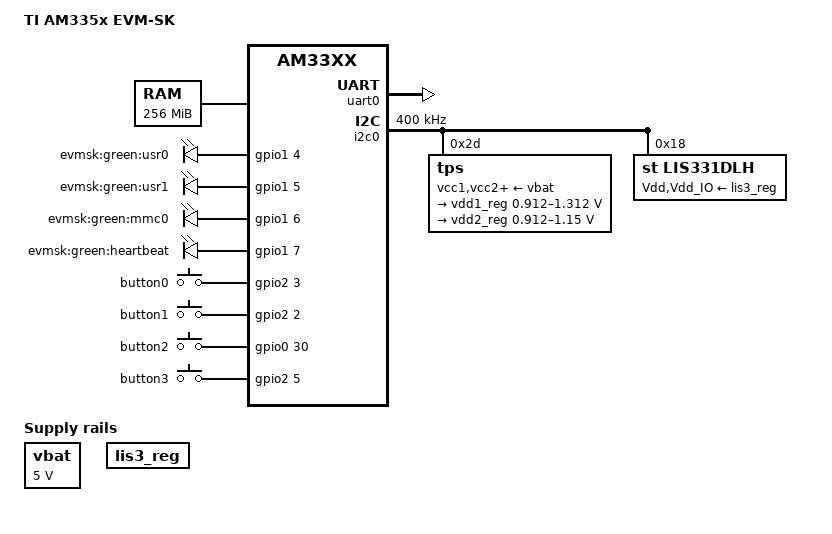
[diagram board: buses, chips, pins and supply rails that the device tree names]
/*
 * Copyright (C) 2012 Texas Instruments Incorporated - http://www.ti.com/
 *
 * This program is free software; you can redistribute it and/or modify
 * it under the terms of the GNU General Public License version 2 as
 * published by the Free Software Foundation.
 */

/*
 * AM335x Starter Kit
 * http://www.ti.com/tool/tmdssk3358
 */

/dts-v1/;

/include/ "am33xx.dtsi"

/ {
	model = "TI AM335x EVM-SK";
	compatible = "ti,am335x-evmsk", "ti,am33xx";

	cpus {
		cpu@0 {
			cpu0-supply = <&vdd1_reg>;
		};
	};

	memory {
		device_type = "memory";
		reg = <0x80000000 0x10000000>; /* 256 MB */
	};

	am33xx_pinmux: pinmux@44e10800 {
		pinctrl-names = "default";
		pinctrl-0 = <&gpio_keys_s0 &ddr3_vtt_toggle>;

		user_leds_s0: user_leds_s0 {
			pinctrl-single,pins = <
				0x10 0x7	/* gpmc_ad4.gpio1_4, OUTPUT | MODE7 */
				0x14 0x7	/* gpmc_ad5.gpio1_5, OUTPUT | MODE7 */
				0x18 0x7	/* gpmc_ad6.gpio1_6, OUTPUT | MODE7 */
				0x1c 0x7	/* gpmc_ad7.gpio1_7, OUTPUT | MODE7 */
			>;
		};

		gpio_keys_s0: gpio_keys_s0 {
			pinctrl-single,pins = <
				0x94 0x27	/* gpmc_oen_ren.gpio2_3, INPUT | MODE7 */
				0x90 0x27	/* gpmc_advn_ale.gpio2_2, INPUT | MODE7 */
				0x70 0x27	/* gpmc_wait0.gpio0_30, INPUT | MODE7 */
				0x9c 0x27	/* gpmc_ben0_cle.gpio2_5, INPUT | MODE7 */
			>;
		};

		i2c0_pins: pinmux_i2c0_pins {
			pinctrl-single,pins = <
				0x188 0x30	/* i2c0_sda.i2c0_sda PULLUP | INPUTENABLE | MODE0 */
				0x18c 0x30	/* i2c0_scl.i2c0_scl PULLUP | INPUTENABLE | MODE0 */
			>;
		};

		uart0_pins: pinmux_uart0_pins {
			pinctrl-single,pins = <
				0x170 0x30	/* uart0_rxd.uart0_rxd PULLUP | INPUTENABLE | MODE0 */
				0x174 0x00	/* uart0_txd.uart0_txd PULLDOWN | MODE0 */

			>;
		};

		ddr3_vtt_toggle: ddr3_vtt_toggle {
			pinctrl-single,pins = <
				0x164 0x7	/* ecap0_in_pwm0_out.gpio0_7, OUTPUT | MODE7 */
			>;
		};

		cpsw_default: cpsw_default {
			pinctrl-single,pins = <
				/* Slave 1 */
				0x114 0x2	/* mii1_txen.rgmii1_tctl, MODE2 | OUTPUT */
				0x118 0x22	/* mii1_rxdv.rgmii1_rctl, MODE2 | INPUT_PULLDOWN */
				0x11c 0x2	/* mii1_txd3.rgmii1_td3, MODE2 | OUTPUT */
				0x120 0x2	/* mii1_txd2.rgmii1_td2, MODE2 | OUTPUT */
				0x124 0x2	/* mii1_txd1.rgmii1_td1, MODE2 | OUTPUT */
				0x128 0x2	/* mii1_txd0.rgmii1_td0, MODE2 | OUTPUT */
				0x12c 0x2	/* mii1_txclk.rgmii1_tclk, MODE2 | OUTPUT */
				0x130 0x22	/* mii1_rxclk.rgmii1_rclk, MODE2 | INPUT_PULLDOWN */
				0x134 0x22	/* mii1_rxd3.rgmii1_rd3, MODE2 | INPUT_PULLDOWN */
				0x138 0x22	/* mii1_rxd2.rgmii1_rd2, MODE2 | INPUT_PULLDOWN */
				0x13c 0x22	/* mii1_rxd1.rgmii1_rd1, MODE2 | INPUT_PULLDOWN */
				0x140 0x22	/* mii1_rxd0.rgmii1_rd0, MODE2 | INPUT_PULLDOWN */

				/* Slave 2 */
				0x40 0x2	/* gpmc_a0.rgmii2_tctl", MODE2 | OUTPUT */
				0x44 0x22	/* gpmc_a1.rgmii2_rctl", MODE2 | INPUT_PULLDOWN */
				0x48 0x2	/* gpmc_a2.rgmii2_td3", MODE2 | OUTPUT */
				0x4c 0x2	/* gpmc_a3.rgmii2_td2", MODE2 | OUTPUT */
				0x50 0x2	/* gpmc_a4.rgmii2_td1", MODE2 | OUTPUT */
				0x54 0x2	/* gpmc_a5.rgmii2_td0", MODE2 | OUTPUT */
				0x58 0x2	/* gpmc_a6.rgmii2_tclk", MODE2 | OUTPUT */
				0x5c 0x22	/* gpmc_a7.rgmii2_rclk", MODE2 | INPUT_PULLDOWN */
				0x60 0x22	/* gpmc_a8.rgmii2_rd3", MODE2 | INPUT_PULLDOWN */
				0x64 0x22	/* gpmc_a9.rgmii2_rd2", MODE2 | INPUT_PULLDOWN */
				0x68 0x22	/* gpmc_a10.rgmii2_rd1", MODE2 | INPUT_PULLDOWN */
				0x6c 0x22	/* gpmc_a11.rgmii2_rd0", MODE2 | INPUT_PULLDOWN */
			>;
		};

		davinci_mdio_default: davinci_mdio_default {
			pinctrl-single,pins = <
				/* MDIO */
				0x148 0x30	/* mdio_data.mdio_data, MODE0 | INPUT_PULLUP */
				0x14c 0x10	/* mdio_clk.mdio_clk, MODE0 | OUTPUT_PULLUP */
			>;
		};
	};

	ocp {
		uart0: serial@44e09000 {
			pinctrl-names = "default";
			pinctrl-0 = <&uart0_pins>;

			status = "okay";
		};

		i2c0: i2c@44e0b000 {
			pinctrl-names = "default";
			pinctrl-0 = <&i2c0_pins>;

			status = "okay";
			clock-frequency = <400000>;

			tps: tps@2d {
				reg = <0x2d>;
			};

			lis331dlh: lis331dlh@18 {
				compatible = "st,lis331dlh", "st,lis3lv02d";
				reg = <0x18>;
				Vdd-supply = <&lis3_reg>;
				Vdd_IO-supply = <&lis3_reg>;

				st,click-single-x;
				st,click-single-y;
				st,click-single-z;
				st,click-thresh-x = <10>;
				st,click-thresh-y = <10>;
				st,click-thresh-z = <10>;
				st,irq1-click;
				st,irq2-click;
				st,wakeup-x-lo;
				st,wakeup-x-hi;
				st,wakeup-y-lo;
				st,wakeup-y-hi;
				st,wakeup-z-lo;
				st,wakeup-z-hi;
				st,min-limit-x = <120>;
				st,min-limit-y = <120>;
				st,min-limit-z = <140>;
				st,max-limit-x = <550>;
				st,max-limit-y = <550>;
				st,max-limit-z = <750>;
			};
		};

		wkup_m3: wkup_m3@44d00000 {
			ti,needs_vtt_toggle;
			vtt-gpio-pin = <7>;
		};
	};

	vbat: fixedregulator@0 {
		compatible = "regulator-fixed";
		regulator-name = "vbat";
		regulator-min-microvolt = <5000000>;
		regulator-max-microvolt = <5000000>;
		regulator-boot-on;
	};

	lis3_reg: fixedregulator@1 {
		compatible = "regulator-fixed";
		regulator-name = "lis3_reg";
		regulator-boot-on;
	};

	leds {
		pinctrl-names = "default";
		pinctrl-0 = <&user_leds_s0>;

		compatible = "gpio-leds";

		led@1 {
			label = "evmsk:green:usr0";
			gpios = <&gpio1 4 0>;
			default-state = "off";
		};

		led@2 {
			label = "evmsk:green:usr1";
			gpios = <&gpio1 5 0>;
			default-state = "off";
		};

		led@3 {
			label = "evmsk:green:mmc0";
			gpios = <&gpio1 6 0>;
			linux,default-trigger = "mmc0";
			default-state = "off";
		};

		led@4 {
			label = "evmsk:green:heartbeat";
			gpios = <&gpio1 7 0>;
			linux,default-trigger = "heartbeat";
			default-state = "off";
		};
	};

	gpio_buttons: gpio_buttons@0 {
		compatible = "gpio-keys";
		#address-cells = <1>;
		#size-cells = <0>;

		switch@1 {
			label = "button0";
			linux,code = <0x100>;
			gpios = <&gpio2 3 0>;
		};

		switch@2 {
			label = "button1";
			linux,code = <0x101>;
			gpios = <&gpio2 2 0>;
		};

		switch@3 {
			label = "button2";
			linux,code = <0x102>;
			gpios = <&gpio0 30 0>;
			gpio-key,wakeup;
		};

		switch@4 {
			label = "button3";
			linux,code = <0x103>;
			gpios = <&gpio2 5 0>;
		};
	};
};

/include/ "tps65910.dtsi"

&tps {
	vcc1-supply = <&vbat>;
	vcc2-supply = <&vbat>;
	vcc3-supply = <&vbat>;
	vcc4-supply = <&vbat>;
	vcc5-supply = <&vbat>;
	vcc6-supply = <&vbat>;
	vcc7-supply = <&vbat>;
	vccio-supply = <&vbat>;

	regulators {
		vrtc_reg: regulator@0 {
			regulator-always-on;
		};

		vio_reg: regulator@1 {
			regulator-always-on;
		};

		vdd1_reg: regulator@2 {
			/* VDD_MPU voltage limits 0.95V - 1.26V with +/-4% tolerance */
			regulator-name = "vdd_mpu";
			regulator-min-microvolt = <912500>;
			regulator-max-microvolt = <1312500>;
			regulator-boot-on;
			regulator-always-on;
		};

		vdd2_reg: regulator@3 {
			/* VDD_CORE voltage limits 0.95V - 1.1V with +/-4% tolerance */
			regulator-name = "vdd_core";
			regulator-min-microvolt = <912500>;
			regulator-max-microvolt = <1150000>;
			regulator-boot-on;
			regulator-always-on;
		};

		vdd3_reg: regulator@4 {
			regulator-always-on;
		};

		vdig1_reg: regulator@5 {
			regulator-always-on;
		};

		vdig2_reg: regulator@6 {
			regulator-always-on;
		};

		vpll_reg: regulator@7 {
			regulator-always-on;
		};

		vdac_reg: regulator@8 {
			regulator-always-on;
		};

		vaux1_reg: regulator@9 {
			regulator-always-on;
		};

		vaux2_reg: regulator@10 {
			regulator-always-on;
		};

		vaux33_reg: regulator@11 {
			regulator-always-on;
		};

		vmmc_reg: regulator@12 {
			regulator-always-on;
		};
	};
};

&mac {
	pinctrl-names = "default";
	pinctrl-0 = <&cpsw_default>;
};

&davinci_mdio {
	pinctrl-names = "default";
	pinctrl-0 = <&davinci_mdio_default>;
};

&cpsw_emac0 {
	phy_id = <&davinci_mdio>, <0>;
};

&cpsw_emac1 {
	phy_id = <&davinci_mdio>, <1>;
};
